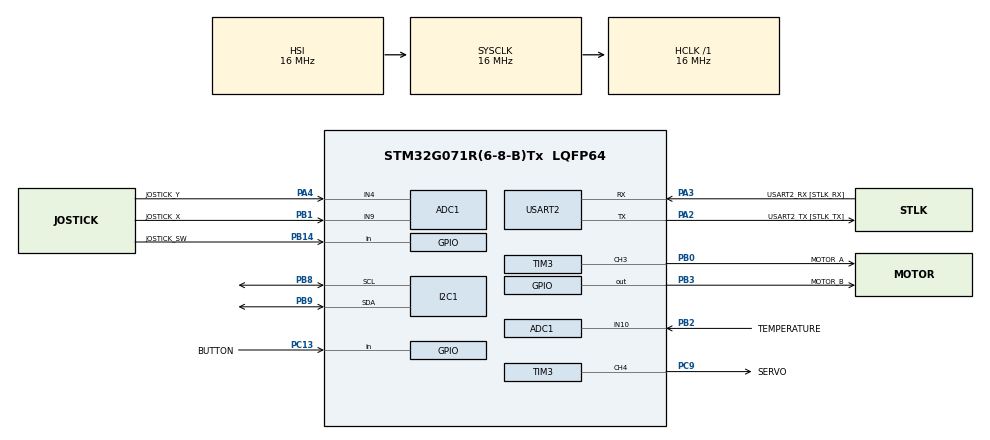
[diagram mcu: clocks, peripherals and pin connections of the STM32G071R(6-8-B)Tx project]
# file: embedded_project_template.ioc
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ADC1.Channel-0\#ChannelRegularConversion=ADC_CHANNEL_4
ADC1.Channel-1\#ChannelRegularConversion=ADC_CHANNEL_9
ADC1.Channel-3\#ChannelRegularConversion=ADC_CHANNEL_10
ADC1.ClockPrescaler=ADC_CLOCK_SYNC_PCLK_DIV4
ADC1.ContinuousConvMode=ENABLE
ADC1.DMAContinuousRequests=ENABLE
ADC1.EOCSelection=ADC_EOC_SEQ_CONV
ADC1.NbrOfConversion=3
ADC1.NbrOfConversionFlag=1
ADC1.Overrun=ADC_OVR_DATA_OVERWRITTEN
ADC1.OversamplingMode=ENABLE
ADC1.Rank-0\#ChannelRegularConversion=1
ADC1.Rank-1\#ChannelRegularConversion=2
ADC1.Rank-3\#ChannelRegularConversion=3
ADC1.Ratio=ADC_OVERSAMPLING_RATIO_16
ADC1.RightBitShift=ADC_RIGHTBITSHIFT_4
ADC1.SamplingTime-0\#ChannelRegularConversion=ADC_SAMPLINGTIME_COMMON_1
ADC1.SamplingTime-1\#ChannelRegularConversion=ADC_SAMPLINGTIME_COMMON_1
ADC1.SamplingTime-3\#ChannelRegularConversion=ADC_SAMPLINGTIME_COMMON_1
ADC1.SamplingTimeCommon1=ADC_SAMPLETIME_39CYCLES_5
ADC1.SamplingTimeCommon2=ADC_SAMPLETIME_39CYCLES_5
ADC1.SelectedChannel=ADC_CHANNEL_4|ADC_CHANNEL_9|ADC_CHANNEL_10
ADC1.TriggerFrequencyMode=ADC_TRIGGER_FREQ_LOW
ADC1.TriggeredMode=ADC_TRIGGEREDMODE_SINGLE_TRIGGER
ADC1.master=1
Dma.ADC1.0.Direction=DMA_PERIPH_TO_MEMORY
Dma.ADC1.0.EventEnable=DISABLE
Dma.ADC1.0.Instance=DMA1_Channel1
Dma.ADC1.0.MemDataAlignment=DMA_MDATAALIGN_HALFWORD
Dma.ADC1.0.MemInc=DMA_MINC_ENABLE
Dma.ADC1.0.Mode=DMA_CIRCULAR
Dma.ADC1.0.PeriphDataAlignment=DMA_PDATAALIGN_HALFWORD
Dma.ADC1.0.PeriphInc=DMA_PINC_DISABLE
Dma.ADC1.0.Polarity=HAL_DMAMUX_REQ_GEN_RISING
Dma.ADC1.0.Priority=DMA_PRIORITY_LOW
Dma.ADC1.0.RequestNumber=1
Dma.ADC1.0.SignalID=NONE
Dma.ADC1.0.SyncEnable=DISABLE
Dma.ADC1.0.SyncPolarity=HAL_DMAMUX_SYNC_NO_EVENT
Dma.ADC1.0.SyncRequestNumber=1
Dma.ADC1.0.SyncSignalID=NONE
Dma.Request0=ADC1
I2C1.I2C_Fall_Time=5
I2C1.I2C_Rise_Time=5
I2C1.Speed=100
I2C1.Timing=0x00403D5B
Mcu.Family=STM32G0
Mcu.Name=STM32G071R(6-8-B)Tx
Mcu.Package=LQFP64
NVIC.DMA1_Channel1_IRQn=true\:0\:0\:false\:false\:true\:false\:true\:true
PA13.GPIO_Label=TMS
PA13.Mode=Serial_Wire
PA13.Signal=SYS_SWDIO
PA14-BOOT0.GPIO_Label=TCK
PA14-BOOT0.Mode=Serial_Wire
PA14-BOOT0.Signal=SYS_SWCLK
PA2.GPIO_Label=USART2_TX [STLK_TX]
PA2.GPIO_PuPd=GPIO_PULLUP
PA2.Mode=Asynchronous
PA2.Signal=USART2_TX
PA3.GPIO_Label=USART2_RX [STLK_RX]
PA3.GPIO_PuPd=GPIO_PULLUP
PA3.Mode=Asynchronous
PA3.Signal=USART2_RX
PA4.GPIO_Label=JOSTICK_Y
PA4.Mode=IN4
PA4.Signal=ADC1_IN4
PB0.GPIO_Label=MOTOR_A
PB0.Signal=S_TIM3_CH3
PB1.GPIO_Label=JOSTICK_X
PB1.Mode=IN9
PB1.Signal=ADC1_IN9
PB14.GPIO_Label=JOSTICK_SW
PB14.GPIO_PuPd=GPIO_PULLUP
PB14.Signal=GPIO_Input
PB2.GPIO_Label=TEMPERATURE
PB2.Mode=IN10
PB2.Signal=ADC1_IN10
PB3.GPIO_Label=MOTOR_B
PB3.Signal=GPIO_Output
PB8.GPIO_Pu=GPIO_NOPULL
PB8.Mode=I2C
PB8.Signal=I2C1_SCL
PB9.GPIO_Pu=GPIO_NOPULL
PB9.Mode=I2C
PB9.Signal=I2C1_SDA
PC13.GPIO_Label=BUTTON
PC13.Signal=GPIO_Input
PC14-OSC32_IN\ (PC14).Mode=LSE-External-Oscillator
PC14-OSC32_IN\ (PC14).Signal=RCC_OSC32_IN
PC15-OSC32_OUT\ (PC15).Mode=LSE-External-Oscillator
PC15-OSC32_OUT\ (PC15).Signal=RCC_OSC32_OUT
PC9.GPIO_Label=SERVO
PC9.GPIO_Speed=GPIO_SPEED_FREQ_MEDIUM
PC9.Signal=S_TIM3_CH4
PF0-OSC_IN\ (PF0).GPIO_Label=MCO
PF0-OSC_IN\ (PF0).Mode=HSE-External-Clock-Source
PF0-OSC_IN\ (PF0).Signal=RCC_OSC_IN
ProjectManager.HeapSize=0x200
ProjectManager.StackSize=0x400
ProjectManager.TargetToolchain=STM32CubeIDE
RCC.AHBFreq_Value=16000000
RCC.CortexFreq_Value=16000000
RCC.EXTERNAL_CLOCK_VALUE=12288000
RCC.HCLKFreq_Value=16000000
RCC.HSE_VALUE=8000000
RCC.HSI_VALUE=16000000
RCC.PLLSourceVirtual=RCC_PLLSOURCE_HSE
RCC.SYSCLKFreq_VALUE=16000000
RCC.VCOOutputFreq_Value=64000000
SH.S_TIM3_CH3.0=TIM3_CH3,PWM Generation3 CH3
SH.S_TIM3_CH4.0=TIM3_CH4,PWM Generation4 CH4
TIM3.Channel-PWM\ Generation3\ CH3=TIM_CHANNEL_3
TIM3.Channel-PWM\ Generation4\ CH4=TIM_CHANNEL_4
TIM3.Period=10000
TIM3.Prescaler=31
TIM3.Pulse-PWM\ Generation4\ CH4=730
USART2.VirtualMode-Asynchronous=VM_ASYNC
board=NUCLEO-G071RB

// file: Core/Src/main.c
/* USER CODE BEGIN Header */
/******************************************************************************
 embedded_project_template - template for Embedded C projects
 that are developed for the NUCLEO-G071RB and use the HAL layer
 Copyright (C) 2023  rx422
 ******************************************************************************
 This program is free software: you can redistribute it and/or modify
 it under the terms of the GNU General Public License as published by
 the Free Software Foundation, either version 3 of the License, or
 (at your option) any later version.

 This program is distributed in the hope that it will be useful,
 but WITHOUT ANY WARRANTY; without even the implied warranty of
 MERCHANTABILITY or FITNESS FOR A PARTICULAR PURPOSE.  See the
 GNU General Public License for more details.

 You should have received a copy of the GNU General Public License
 along with this program.  If not, see <https://www.gnu.org/licenses/>.
 ******************************************************************************/
/* USER CODE END Header */
#include "main.h"
#include "adc.h"
#include "dma.h"
#include "i2c.h"
#include "tim.h"
#include "usart.h"
#include "gpio.h"

/* USER CODE BEGIN Includes */
#include <stdint.h>
#include <stdbool.h>
#include <stdlib.h>
#include <string.h>
#include "stdio_usart.h"
#include "motor.h"
#include "eeprom.h"
/* USER CODE END Includes */

/* USER CODE BEGIN PD */
#define BUTTON_READ_RECURENCE 200
#define LED_GREEN_GPIO_Port MOTOR_A_GPIO_Port
#define LED_GREEN_Pin MOTOR_A_Pin

#define JOSTICK_X_RAW adc_buffer[0]
#define JOSTICK_Y_RAW adc_buffer[1]
#define TEMPERATURE_RAW adc_buffer[2]

#define READ_JOSTYCK_RECURENCE_FAST 100
#define READ_JOSTYCK_RECURENCE_SLOW 500
#define BUTTON_DEBOUNCE_TIME 200

/* USER CODE END PD */

/* USER CODE BEGIN PV */
uint16_t adc_buffer[6];

enum temperature_limits
{
	TEMPERATURE_MIN = 16,
	TEMPERATURE_MAX = 30
};

/* USER CODE END PV */

void SystemClock_Config(void);
/* USER CODE BEGIN PFP */

void changeOnceIfButtonPressed(void);
void changeIfButtonPressed(void);
void motorControl(motor_t *motor, const char *command);
uint8_t needReadUsartInputBuff(void);

/* USER CODE END PFP */

int main(void)
{

  /* MCU Configuration--------------------------------------------------------*/

  /* Reset of all peripherals, Initializes the Flash interface and the Systick. */
  HAL_Init();

  /* USER CODE BEGIN Init */
	// No buffers will be used for input and output streams.
	setvbuf(stdin, NULL, _IONBF, 0);
	setvbuf(stdout, NULL, _IONBF, 0);

  /* USER CODE END Init */

  /* Configure the system clock */
  SystemClock_Config();

  /* Initialize all configured peripherals */
  MX_GPIO_Init();
  MX_DMA_Init();
  MX_USART2_UART_Init();
  MX_I2C1_Init();
  MX_ADC1_Init();
  MX_TIM3_Init();
  /* USER CODE BEGIN 2 */
	stdio_usart_init();

	char output_data_buff[20] = "Data from EEPROM";
	char input_data_buff[20] = {0};

	printf("Some floating point data: %f\n", 2.33);

	printf("Output: %s\n", output_data_buff);
	// Test_Write_Read_24LCxx(
	// 				&hi2c1,
	// 				0xA0,
	// 				0x0000,
	// 				(uint8_t*) output_data_buff,
	// 				(uint8_t*) input_data_buff
	// 			);
	printf("Input: %s\n", input_data_buff);

	static motor_t motor;

	const uint8_t FIRST_MOTOR_ID = 1;

	motor_init(
		&motor,
		FIRST_MOTOR_ID,
		0u,
		MOTOR_A_Pin,
		MOTOR_B_Pin,
		MOTOR_A_GPIO_Port);

	HAL_ADC_Start_DMA(&hadc1, (uint32_t *)adc_buffer, 6);

	HAL_TIM_PWM_Start(&htim3, TIM_CHANNEL_4);

  /* USER CODE END 2 */

  /* Infinite loop */
  /* USER CODE BEGIN WHILE */
		while (1)
		{
			// static uint32_t next_show_time = 0;
			static uint32_t read_jostick_time = 0;
			static uint32_t set_angle_time = 0;
			static uint32_t read_button_time = 0;

			static int8_t wanted_temperature = 25;
			static int8_t temporary_wanted_temperature = 25;

			static uint8_t need_show_temperature = true;
    /* USER CODE END WHILE */

    /* USER CODE BEGIN 3 */

			if (needReadUsartInputBuff())
			{
				scanf("%20s", input_data_buff);
				printf("\a");					   // Bip sound
				printf("\f%s\n", input_data_buff); // Refresh display and print input_data_buff
				motorControl(&motor, input_data_buff);
			}

			if (need_show_temperature)
			{
				printf(
					"\fWant: %d\tSet: %d\n",
					temporary_wanted_temperature,
					wanted_temperature);
				need_show_temperature = false;
			}

			if (HAL_GPIO_ReadPin(JOSTICK_SW_GPIO_Port, JOSTICK_SW_Pin) == GPIO_PIN_RESET)
			{
				if (read_button_time < HAL_GetTick())
				{
					wanted_temperature = temporary_wanted_temperature;
					need_show_temperature = true;
					printf("\a");
				}
				read_button_time = HAL_GetTick() + BUTTON_DEBOUNCE_TIME;
			}

			if (read_jostick_time < HAL_GetTick())
			{
				if (JOSTICK_Y_RAW > 2200)
				{
					read_jostick_time = HAL_GetTick() + (JOSTICK_Y_RAW > 3200 ? READ_JOSTYCK_RECURENCE_FAST : READ_JOSTYCK_RECURENCE_SLOW);

					if (temporary_wanted_temperature < TEMPERATURE_MAX)
					{
						temporary_wanted_temperature++;
						need_show_temperature = true;
					}
				}

				if (JOSTICK_Y_RAW < 1800)
				{
					read_jostick_time = HAL_GetTick() + (JOSTICK_Y_RAW < 800 ? READ_JOSTYCK_RECURENCE_FAST : READ_JOSTYCK_RECURENCE_SLOW);

					if (temporary_wanted_temperature > TEMPERATURE_MIN)
					{
						temporary_wanted_temperature--;
						need_show_temperature = true;
					}
				}
			}

			static uint16_t angle = 300;

			if (set_angle_time < HAL_GetTick())
			{
				static uint16_t last_angle = 300;

				if (JOSTICK_X_RAW > 2200)
				{
					if (angle < 1200)
					{
						angle += 10;
					}
				}

				if (JOSTICK_X_RAW < 1800)
				{
					if (angle > 230)
					{
						angle -= 10;
					}
				}

				if (last_angle != angle)
				{
					__HAL_TIM_SET_COMPARE(&htim3, TIM_CHANNEL_4, angle);
					last_angle = angle;
				}
				printf("\fAngle: %d\n", angle);
				set_angle_time = HAL_GetTick() + 10;
			}

		}
  /* USER CODE END 3 */
}

void SystemClock_Config(void)
{
  RCC_OscInitTypeDef RCC_OscInitStruct = {0};
  RCC_ClkInitTypeDef RCC_ClkInitStruct = {0};

  /** Configure the main internal regulator output voltage
  */
  HAL_PWREx_ControlVoltageScaling(PWR_REGULATOR_VOLTAGE_SCALE1);

  /** Initializes the RCC Oscillators according to the specified parameters
  * in the RCC_OscInitTypeDef structure.
  */
  RCC_OscInitStruct.OscillatorType = RCC_OSCILLATORTYPE_HSI;
  RCC_OscInitStruct.HSIState = RCC_HSI_ON;
  RCC_OscInitStruct.HSIDiv = RCC_HSI_DIV1;
  RCC_OscInitStruct.HSICalibrationValue = RCC_HSICALIBRATION_DEFAULT;
  RCC_OscInitStruct.PLL.PLLState = RCC_PLL_NONE;
  if (HAL_RCC_OscConfig(&RCC_OscInitStruct) != HAL_OK)
  {
    Error_Handler();
  }

  /** Initializes the CPU, AHB and APB buses clocks
  */
  RCC_ClkInitStruct.ClockType = RCC_CLOCKTYPE_HCLK|RCC_CLOCKTYPE_SYSCLK
                              |RCC_CLOCKTYPE_PCLK1;
  RCC_ClkInitStruct.SYSCLKSource = RCC_SYSCLKSOURCE_HSI;
  RCC_ClkInitStruct.AHBCLKDivider = RCC_SYSCLK_DIV1;
  RCC_ClkInitStruct.APB1CLKDivider = RCC_HCLK_DIV1;

  if (HAL_RCC_ClockConfig(&RCC_ClkInitStruct, FLASH_LATENCY_0) != HAL_OK)
  {
    Error_Handler();
  }
}

/* USER CODE BEGIN 4 */
void changeOnceIfButtonPressed(void)
{
	static uint32_t next_show_time = 0;

	if (next_show_time < HAL_GetTick())
	{
		uint8_t buttonState = !HAL_GPIO_ReadPin(BUTTON_GPIO_Port, BUTTON_Pin);

		if (buttonState)
		{
			HAL_GPIO_TogglePin(LED_GREEN_GPIO_Port, LED_GREEN_Pin);

			next_show_time = HAL_GetTick() + BUTTON_READ_RECURENCE;
		}
	}
}

void changeIfButtonPressed(void)
{
	static uint32_t next_show_time = 0;

	uint8_t buttonState = !HAL_GPIO_ReadPin(BUTTON_GPIO_Port, BUTTON_Pin);

	if (buttonState)
	{
		if (next_show_time < HAL_GetTick())
		{
			HAL_GPIO_TogglePin(LED_GREEN_GPIO_Port, LED_GREEN_Pin);
		}
		next_show_time = HAL_GetTick() + BUTTON_READ_RECURENCE;
	}
}

void motorControl(motor_t *motor, const char *command)
{
	if (!strcmp(command, "motorRight"))
	{
		motor_set_direction(motor, RIGHT);
		motor_start(motor);
	}

	if (!strcmp(command, "motorLeft"))
	{
		motor_set_direction(motor, LEFT);
		motor_start(motor);
	}

	if (!strcmp(command, "motorStart"))
	{
		motor_start(motor);
	}

	if (!strcmp(command, "motorStop"))
	{
		motor_stop(motor);
	}
}

inline uint8_t needReadUsartInputBuff(void)
{
	return (__HAL_UART_GET_FLAG(&huart2, UART_FLAG_RXNE) != RESET);
}
/* USER CODE END 4 */

void Error_Handler(void)
{
	__disable_irq();
	while (1)
	{
	}
}
